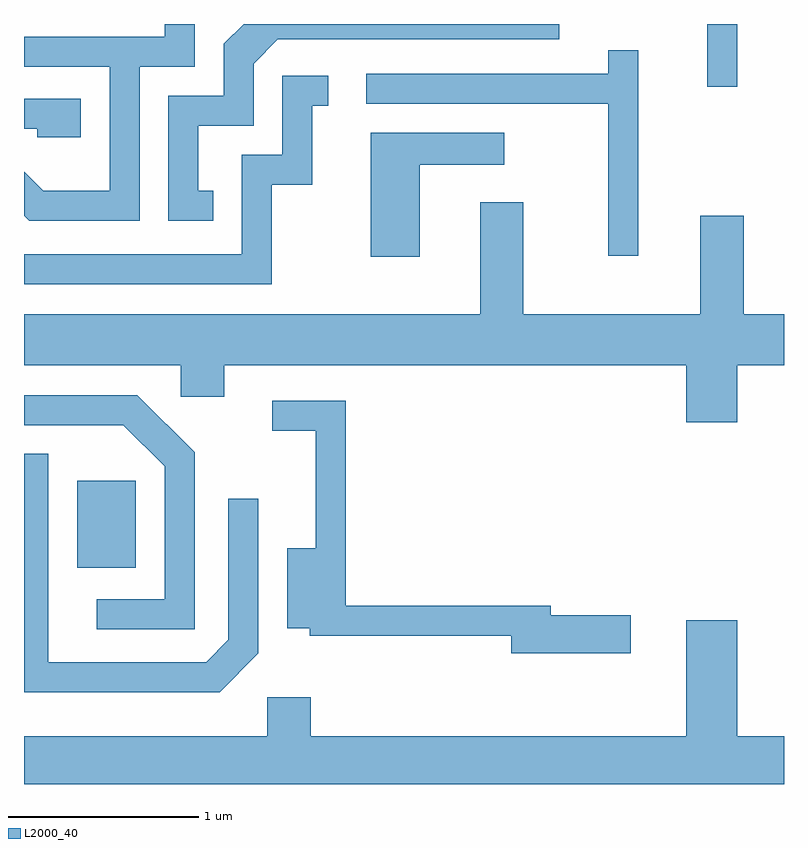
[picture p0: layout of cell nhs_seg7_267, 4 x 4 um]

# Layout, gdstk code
import gdstk
lib = gdstk.Library(unit=1e-6, precision=1e-09)
def R(c, l, rs):  # rectangles x0, y0, x1, y1
    for r in rs: c.add(gdstk.rectangle(r[:2], r[2:], *l))
def P(c, l, *ps):  # polygons
    for p in ps: c.add(gdstk.Polygon(p, *l))
L2000_40 = (2000, 40)

nhs_seg7_267 = lib.new_cell('nhs_seg7_267')
R(nhs_seg7_267, L2000_40, [(191.891,1795.391,192.199,1795.849), (195.206,1797.923,195.364,1798.252)])
P(nhs_seg7_267, L2000_40, [(192.608,1797.374),(192.529,1797.374),(192.529,1797.716),(192.819,1797.716),(192.819,1798.044),(192.947,1798.171),(194.429,1798.171),(194.429,1798.252),(192.767,1798.252),(192.661,1798.147),(192.661,1797.874),(192.371,1797.874),(192.371,1797.216),(192.608,1797.216)],
  [(192.219,1798.026),(192.509,1798.026),(192.509,1798.252),(192.351,1798.252),(192.351,1798.184),(191.611,1798.184),(191.611,1798.026),(192.061,1798.026),(192.061,1797.374),(191.712,1797.374),(191.611,1797.475),(191.611,1797.244),(191.639,1797.216),(192.219,1797.216)],
  [(194.844,1798.113),(194.686,1798.113),(194.686,1797.989),(193.413,1797.989),(193.413,1797.831),(194.686,1797.831),(194.686,1797.033),(194.844,1797.033)],
  [(192.914,1797.406),(193.129,1797.406),(193.129,1797.821),(193.213,1797.821),(193.213,1797.979),(192.971,1797.979),(192.971,1797.564),(192.756,1797.564),(192.756,1797.039),(191.611,1797.039),(191.611,1796.881),(192.914,1796.881)],
  [(191.909,1797.859),(191.611,1797.859),(191.611,1797.701),(191.681,1797.701),(191.681,1797.656),(191.909,1797.656)],
  [(193.694,1797.511),(194.138,1797.511),(194.138,1797.679),(193.436,1797.679),(193.436,1797.026),(193.694,1797.026)],
  [(195.364,1796.456),(195.611,1796.456),(195.611,1796.724),(195.399,1796.724),(195.399,1797.244),(195.171,1797.244),(195.171,1796.724),(194.239,1796.724),(194.239,1797.314),(194.011,1797.314),(194.011,1796.724),(191.611,1796.724),(191.611,1796.456),(192.436,1796.456),(192.436,1796.291),(192.664,1796.291),(192.664,1796.456),(195.096,1796.456),(195.096,1796.156),(195.364,1796.156)],
  [(192.509,1795.997),(192.207,1796.299),(191.611,1796.299),(191.611,1796.141),(192.134,1796.141),(192.351,1795.924),(192.351,1795.224),(191.993,1795.224),(191.993,1795.066),(192.509,1795.066)],
  [(194.804,1795.139),(194.384,1795.139),(194.384,1795.189),(193.304,1795.189),(193.304,1796.269),(192.918,1796.269),(192.918,1796.111),(193.146,1796.111),(193.146,1795.494),(192.996,1795.494),(192.996,1795.071),(193.116,1795.071),(193.116,1795.031),(194.176,1795.031),(194.176,1794.941),(194.804,1794.941)],
  [(192.844,1794.939),(192.844,1795.753),(192.686,1795.753),(192.686,1795.012),(192.569,1794.894),(191.739,1794.894),(191.739,1795.989),(191.611,1795.989),(191.611,1794.736),(192.642,1794.736)],
  [(195.611,1794.504),(195.364,1794.504),(195.364,1795.114),(195.096,1795.114),(195.096,1794.504),(193.119,1794.504),(193.119,1794.709),(192.891,1794.709),(192.891,1794.504),(191.611,1794.504),(191.611,1794.252),(195.611,1794.252)])

lib.write_gds('nhs_seg7_267.gds')
